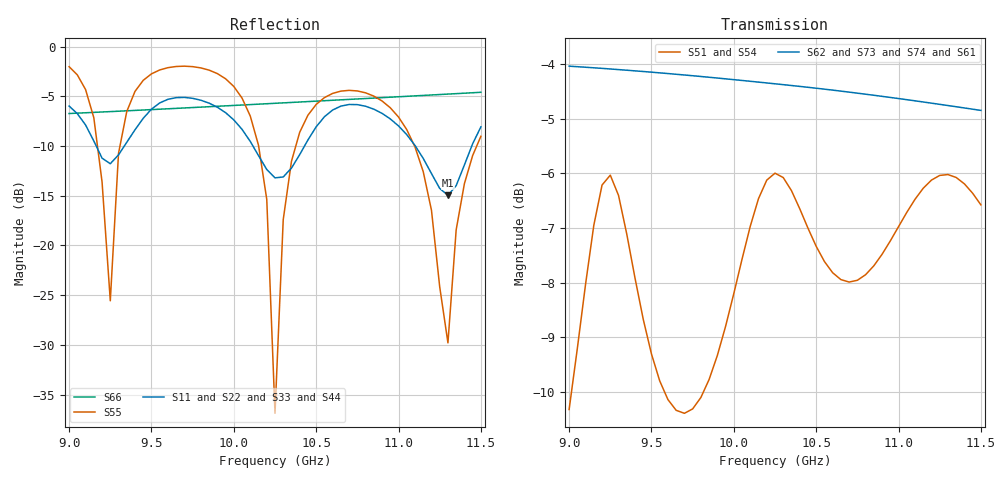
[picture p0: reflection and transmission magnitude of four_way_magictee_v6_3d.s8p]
! Full 3-D v6 four-way tree: IN1 IN2 IN3 IN4 OUT DUMP_A DUMP_B DUMP_C
# GHz S MA R 50
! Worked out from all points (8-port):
!   51 points, 9 GHz to 11.5 GHz, reference 50 ohm
!   strongest paths, dB at 9 GHz, 9.6 GHz, 10.25 GHz, 10.9 GHz, 11.5 GHz:
!     S62: -4.0, -4.2, -4.4, -4.6, -4.9
!     S73: -4.0, -4.2, -4.4, -4.6, -4.9
!     S74: -4.1, -4.2, -4.4, -4.6, -4.9
!     S61: -4.1, -4.2, -4.4, -4.6, -4.9
!     S51: -10.3, -10.1, -6.0, -7.5, -6.6
!     S54: -10.3, -10.2, -6.0, -7.5, -6.6
!   lowest |S11| = -15.0 dB at 11.3 GHz (marker M1), VSWR 1.43, Z = 37.1 + j8.88 ohm
!   |S11| at or under -10 dB: 9.165 GHz to 9.335 GHz (170.3 MHz wide, 1.84 % of centre); 10.12 GHz to 10.43 GHz (313 MHz wide, 3.05 % of centre); 11.1 GHz to 11.44 GHz (342.2 MHz wide, 3.04 % of centre)
